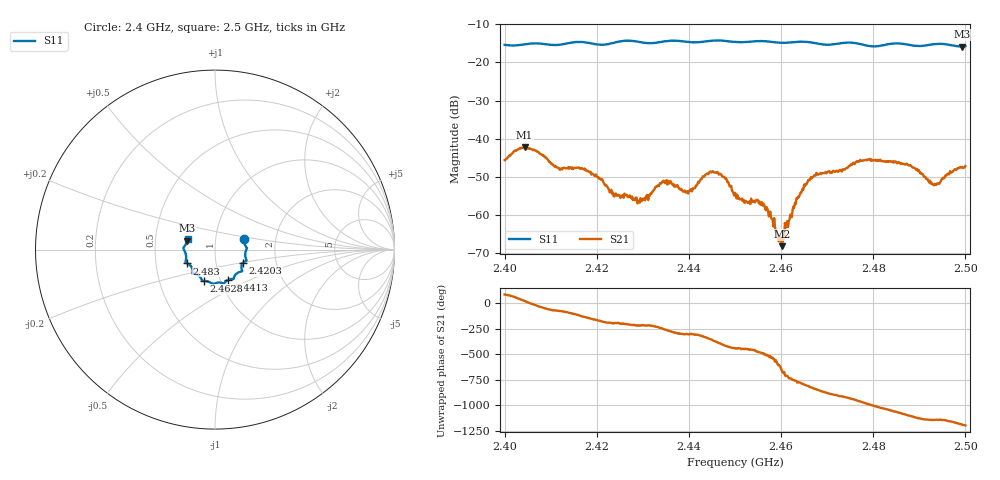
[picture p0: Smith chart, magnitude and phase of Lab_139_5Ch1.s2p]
# Hz S RI R 50
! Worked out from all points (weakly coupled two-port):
!   601 points, 2.4 GHz to 2.5 GHz, reference 50 ohm
!   highest |S21| = -42.25 dB at 2.4043 GHz (marker M1); lowest = -68.3 dB at 2.4602 GHz (marker M2)
!   lowest |S11| = -15.8 dB at 2.4993 GHz (marker M3), VSWR 1.39, Z = 36.5 + j3.71 ohm
!   |S11| at or under -10 dB: start of sweep to end of sweep
!   S12 and S22 are empty: the file has one direction only
!   S11 on the Smith chart (normalised r, x): 2.4 GHz: 1.37, +0.16; 2.4203 GHz: 1.35, -0.21; 2.4413 GHz: 1.09, -0.38; 2.4628 GHz: 0.83, -0.30; 2.483 GHz: 0.72, -0.11; 2.5 GHz: 0.73, +0.09
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2.4e9  0.1609 0.0567  0.000564 0.00516  0 0  0 0
2.404333e9  0.1726 0.0162  0.00726 0.00261  0 0  0 0
2.411667e9  0.1681 -0.0282  0.00102 -0.00394  0 0  0 0
2.416667e9  0.1758 -0.0615  -0.00252 -0.00314  0 0  0 0
2.420333e9  0.1554 -0.0739  -0.00308 -0.000472  0 0  0 0
2.423333e9  0.1473 -0.1023  -0.00179 0.000546  0 0  0 0
2.429333e9  0.1383 -0.124  -0.00106 0.000962  0 0  0 0
2.433333e9  0.108 -0.1483  -0.00147 0.00195  0 0  0 0
2.441333e9  0.0742 -0.1683  0.00147 0.00168  0 0  0 0
2.4455e9  0.0506 -0.1875  0.00352 -0.000663  0 0  0 0
2.45e9  0.0293 -0.1838  0.000239 -0.00192  0 0  0 0
2.456333e9  -0.0138 -0.1902  -0.00106 -0.000818  0 0  0 0
2.460167e9  -0.0409 -0.1767  0.000198 0.000329  0 0  0 0
2.462833e9  -0.0629 -0.1746  0.000979 -0.000731  0 0  0 0
2.466667e9  -0.0743 -0.1675  -0.00091 -0.00286  0 0  0 0
2.476833e9  -0.1245 -0.1252  -0.0026 0.00426  0 0  0 0
2.483e9  -0.1547 -0.0768  0.00375 0.00318  0 0  0 0
2.483333e9  -0.1569 -0.0757  0.00404 0.0028  0 0  0 0
2.487833e9  -0.1614 -0.0539  0.00411 -0.00167  0 0  0 0
2.493333e9  -0.1748 0.00242  0.00115 -0.00226  0 0  0 0
2.499333e9  -0.1545 0.0496  -0.00153 -0.0039  0 0  0 0
2.5e9  -0.1527 0.0586  -0.00204 -0.00383  0 0  0 0
